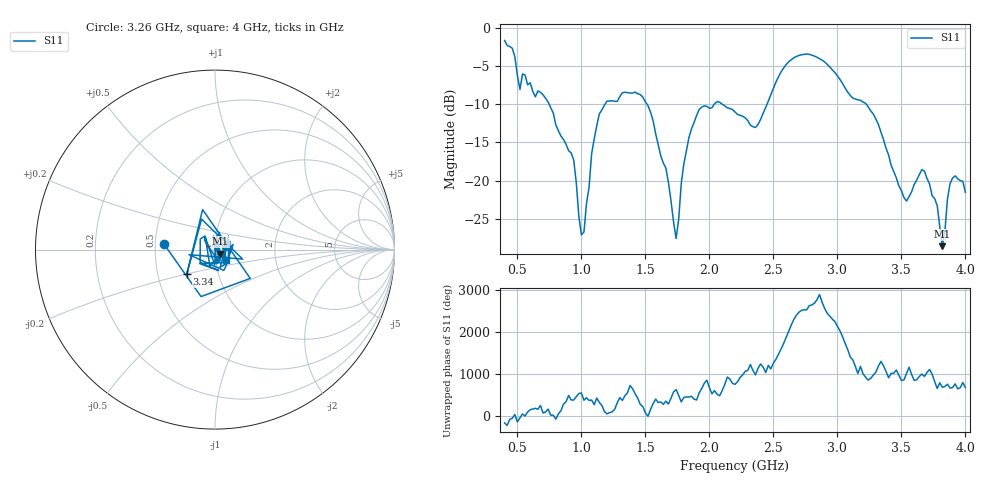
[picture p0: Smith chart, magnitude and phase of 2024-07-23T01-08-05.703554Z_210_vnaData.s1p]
!Created with skrf (http://scikit-rf.org).
# Hz S RI R 50.0
!freq ReS11 ImS11
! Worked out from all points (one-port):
!   181 points, 400 MHz to 4 GHz, reference 50 ohm
!   lowest |S11| = -28.6 dB at 3.82 GHz (marker M1), VSWR 1.08, Z = 53 - j2.34 ohm
!   |S11| at or under -10 dB: 747.6 MHz to 1.185 GHz (437.5 MHz wide, 45.3 % of centre); 1.512 GHz to 2.038 GHz (525.5 MHz wide, 29.6 % of centre); 3.225 GHz to end of sweep (the widest 3 of 4)
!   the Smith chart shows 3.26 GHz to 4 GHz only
!   S11 on the Smith chart (normalised r, x): 3.26 GHz: 0.56, +0.04; 3.34 GHz: 0.70, -0.20; 4 GHz: 1.12, -0.13
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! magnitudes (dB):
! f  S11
! 400 MHz  -1.7
! 460 MHz  -2.7
! 520 MHz  -8.1
! 700 MHz  -8.8
! 860 MHz  -14.6
! 940 MHz  -17.3
! 1 GHz  -27.1
! 1.14 GHz  -11.3
! 1.3 GHz  -9.0
! 1.52 GHz  -10.2
! 1.66 GHz  -18.4
! 1.74 GHz  -27.6
! 1.76 GHz  -25.1
! 1.8 GHz  -17.8
! 1.92 GHz  -10.7
! 2.2 GHz  -11.0
! 2.36 GHz  -13.0
! 2.66 GHz  -3.9
! 2.88 GHz  -4.2
! 3.1 GHz  -8.8
! 3.26 GHz  -10.9
! 3.34 GHz  -13.6
! 3.56 GHz  -22.1
! 3.68 GHz  -18.8
! 3.78 GHz  -23.3
! 3.82 GHz  -28.6
! 3.88 GHz  -20.4
! 4 GHz  -21.5
